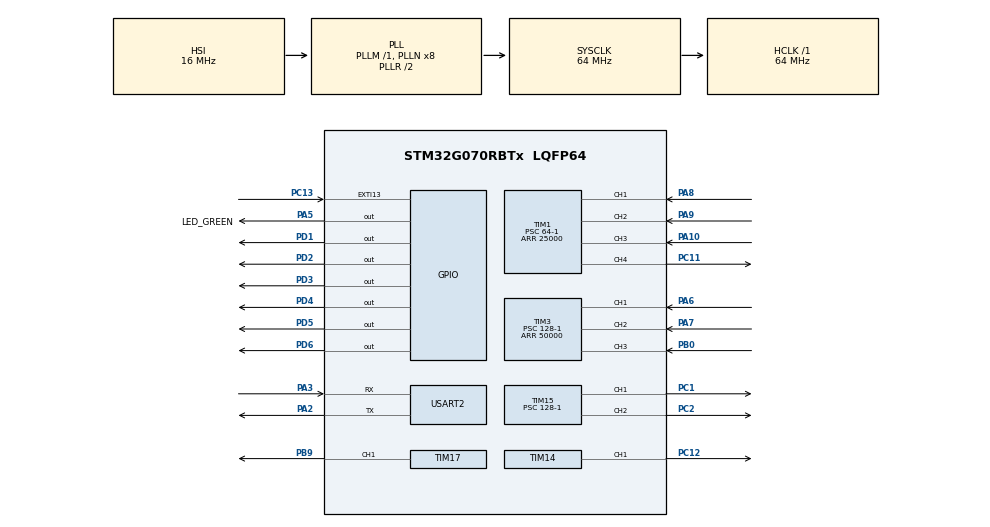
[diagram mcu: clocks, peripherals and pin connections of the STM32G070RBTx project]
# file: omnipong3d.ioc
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Dma.Request0=TIM17_CH1
Dma.TIM17_CH1.0.Direction=DMA_MEMORY_TO_PERIPH
Dma.TIM17_CH1.0.EventEnable=DISABLE
Dma.TIM17_CH1.0.Instance=DMA1_Channel1
Dma.TIM17_CH1.0.MemDataAlignment=DMA_MDATAALIGN_HALFWORD
Dma.TIM17_CH1.0.MemInc=DMA_MINC_ENABLE
Dma.TIM17_CH1.0.Mode=DMA_NORMAL
Dma.TIM17_CH1.0.PeriphDataAlignment=DMA_PDATAALIGN_HALFWORD
Dma.TIM17_CH1.0.PeriphInc=DMA_PINC_DISABLE
Dma.TIM17_CH1.0.Polarity=HAL_DMAMUX_REQ_GEN_RISING
Dma.TIM17_CH1.0.Priority=DMA_PRIORITY_LOW
Dma.TIM17_CH1.0.RequestNumber=1
Dma.TIM17_CH1.0.SignalID=NONE
Dma.TIM17_CH1.0.SyncEnable=DISABLE
Dma.TIM17_CH1.0.SyncPolarity=HAL_DMAMUX_SYNC_NO_EVENT
Dma.TIM17_CH1.0.SyncRequestNumber=1
Dma.TIM17_CH1.0.SyncSignalID=NONE
Mcu.Family=STM32G0
Mcu.Name=STM32G070RBTx
Mcu.Package=LQFP64
NVIC.DMA1_Channel1_IRQn=true\:0\:0\:false\:false\:true\:false\:true
NVIC.EXTI4_15_IRQn=true\:0\:0\:false\:false\:true\:true\:true
NVIC.TIM16_IRQn=true\:0\:0\:false\:false\:true\:true\:true
NVIC.TIM1_BRK_UP_TRG_COM_IRQn=true\:0\:0\:false\:false\:true\:true\:true
NVIC.TIM1_CC_IRQn=true\:0\:0\:false\:false\:true\:true\:true
NVIC.TIM3_IRQn=true\:0\:0\:false\:false\:true\:true\:true
NVIC.TIM6_IRQn=true\:0\:0\:false\:false\:true\:true\:true
PA10.Signal=S_TIM1_CH3
PA2.Mode=Asynchronous
PA2.Signal=USART2_TX
PA3.Mode=Asynchronous
PA3.Signal=USART2_RX
PA5.GPIO_Label=LED_GREEN
PA5.GPIO_Speed=GPIO_SPEED_FREQ_HIGH
PA5.Signal=GPIO_Output
PA6.GPIO_PuPd=GPIO_PULLDOWN
PA6.Signal=S_TIM3_CH1
PA7.GPIO_PuPd=GPIO_PULLDOWN
PA7.Signal=S_TIM3_CH2
PA8.Signal=S_TIM1_CH1
PA9.Signal=S_TIM1_CH2
PB0.GPIO_PuPd=GPIO_PULLDOWN
PB0.Signal=S_TIM3_CH3
PB9.Signal=S_TIM17_CH1
PC1.Signal=S_TIM15_CH1
PC11.Signal=S_TIM1_CH4
PC12.Signal=S_TIM14_CH1
PC13.Signal=GPXTI13
PC2.Signal=S_TIM15_CH2
PD1.Signal=GPIO_Output
PD2.Signal=GPIO_Output
PD3.Signal=GPIO_Output
PD4.Signal=GPIO_Output
PD5.Signal=GPIO_Output
PD6.Signal=GPIO_Output
PF0-OSC_IN\ (PF0).GPIO_Label=MCO
PF0-OSC_IN\ (PF0).Signal=RCC_OSC_IN
ProjectManager.HeapSize=0x200
ProjectManager.StackSize=0x400
ProjectManager.TargetToolchain=Makefile
RCC.ADCFreq_Value=64000000
RCC.AHBFreq_Value=64000000
RCC.CortexFreq_Value=64000000
RCC.EXTERNAL_CLOCK_VALUE=12288000
RCC.HCLKFreq_Value=64000000
RCC.HSE_VALUE=8000000
RCC.HSI_VALUE=16000000
RCC.LSE_VALUE=32768
RCC.SYSCLKFreq_VALUE=64000000
RCC.SYSCLKSource=RCC_SYSCLKSOURCE_PLLCLK
RCC.VCOOutputFreq_Value=128000000
SH.S_TIM14_CH1.0=TIM14_CH1,PWM Generation1 CH1
SH.S_TIM15_CH1.0=TIM15_CH1,PWM Generation1 CH1
SH.S_TIM15_CH2.0=TIM15_CH2,PWM Generation2 CH2
SH.S_TIM17_CH1.0=TIM17_CH1,PWM Generation1 CH1
SH.S_TIM1_CH1.0=TIM1_CH1,Input_Capture1_from_TI1
SH.S_TIM1_CH2.0=TIM1_CH2,Input_Capture2_from_TI2
SH.S_TIM1_CH3.0=TIM1_CH3,Input_Capture3_from_TI3
SH.S_TIM1_CH4.0=TIM1_CH4,PWM Generation4 CH4
SH.S_TIM3_CH1.0=TIM3_CH1,Input_Capture1_from_TI1
SH.S_TIM3_CH2.0=TIM3_CH2,Input_Capture2_from_TI2
SH.S_TIM3_CH3.0=TIM3_CH3,Input_Capture3_from_TI3
TIM1.Channel-Input_Capture1_from_TI1=TIM_CHANNEL_1
TIM1.Channel-Input_Capture2_from_TI2=TIM_CHANNEL_2
TIM1.Channel-Input_Capture3_from_TI3=TIM_CHANNEL_3
TIM1.Channel-PWM\ Generation4\ CH4=TIM_CHANNEL_4
TIM1.ICPolarity_CH1=TIM_INPUTCHANNELPOLARITY_BOTHEDGE
TIM1.ICPolarity_CH2=TIM_INPUTCHANNELPOLARITY_BOTHEDGE
TIM1.ICPolarity_CH3=TIM_INPUTCHANNELPOLARITY_BOTHEDGE
TIM1.Period=25000
TIM1.Prescaler=64-1
TIM1.Pulse-PWM\ Generation4\ CH4=10
TIM1.TIM_MasterOutputTrigger=TIM_TRGO_UPDATE
TIM1.TIM_MasterSlaveMode=TIM_MASTERSLAVEMODE_ENABLE
TIM14.Channel=TIM_CHANNEL_1
TIM14.Period=1000
TIM14.Prescaler=128-1
TIM15.Channel-PWM\ Generation1\ CH1=TIM_CHANNEL_1
TIM15.Channel-PWM\ Generation2\ CH2=TIM_CHANNEL_2
TIM15.Period=1000
TIM15.Prescaler=128-1
TIM16.Period=25
TIM16.Prescaler=64000-1
TIM17.Channel=TIM_CHANNEL_1
TIM17.Period=80
TIM3.Channel-Input_Capture1_from_TI1=TIM_CHANNEL_1
TIM3.Channel-Input_Capture2_from_TI2=TIM_CHANNEL_2
TIM3.Channel-Input_Capture3_from_TI3=TIM_CHANNEL_3
TIM3.Period=50000
TIM3.Prescaler=128-1
TIM6.Prescaler=64000-1
USART2.VirtualMode-Asynchronous=VM_ASYNC
VP_SYS_VS_DBSignals.Mode=DisableDeadBatterySignals
VP_TIM14_VS_ClockSourceINT.Mode=Enable_Timer
VP_TIM15_VS_ClockSourceINT.Mode=Internal
VP_TIM16_VS_ClockSourceINT.Mode=Enable_Timer
VP_TIM17_VS_ClockSourceINT.Mode=Enable_Timer
VP_TIM1_VS_ClockSourceINT.Mode=Internal
VP_TIM3_VS_ClockSourceINT.Mode=Internal
VP_TIM6_VS_ClockSourceINT.Mode=Enable_Timer
board=NUCLEO-G070RB

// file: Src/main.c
/* USER CODE BEGIN Header */
/**
  ******************************************************************************
  * @file           : main.c
  * @brief          : Main program body
  ******************************************************************************
  * @attention
  *
  * <h2><center>&copy; Copyright (c) 2022 STMicroelectronics.
  * All rights reserved.</center></h2>
  *
  * This software component is licensed by ST under BSD 3-Clause license,
  * the "License"; You may not use this file except in compliance with the
  * License. You may obtain a copy of the License at:
  *                        opensource.org/licenses/BSD-3-Clause
  *
  ******************************************************************************
  */
/* USER CODE END Header */
#include "main.h"

/* USER CODE BEGIN Includes */
#include "sensors.h"
#include "move.h"
#include "ws2812.h"
#include "stm32g0xx_it.h"
#include "shape.h"
/* USER CODE END Includes */

TIM_HandleTypeDef htim1;
TIM_HandleTypeDef htim3;
TIM_HandleTypeDef htim6;
TIM_HandleTypeDef htim14;
TIM_HandleTypeDef htim15;
TIM_HandleTypeDef htim16;
TIM_HandleTypeDef htim17;
DMA_HandleTypeDef hdma_tim17_ch1;

UART_HandleTypeDef huart2;

/* USER CODE BEGIN PV */
int modus = -1;
int mode_step = 0;

/* USER CODE END PV */

void SystemClock_Config(void);
static void MX_GPIO_Init(void);
static void MX_TIM1_Init(void);
static void MX_USART2_UART_Init(void);
static void MX_TIM3_Init(void);
static void MX_TIM16_Init(void);
static void MX_TIM14_Init(void);
static void MX_DMA_Init(void);
static void MX_TIM17_Init(void);
static void MX_TIM15_Init(void);
static void MX_TIM6_Init(void);

int main(void)
{

  /* MCU Configuration--------------------------------------------------------*/

  /* Reset of all peripherals, Initializes the Flash interface and the Systick. */
  HAL_Init();

  /* Configure the system clock */
  SystemClock_Config();

  /* Initialize all configured peripherals */
  MX_GPIO_Init();
  MX_TIM1_Init();
  MX_USART2_UART_Init();
  MX_TIM3_Init();
  MX_TIM16_Init();
  MX_TIM14_Init();
  MX_DMA_Init();
  MX_TIM17_Init();
  MX_TIM15_Init();
  MX_TIM6_Init();
  /* USER CODE BEGIN 2 */
  HAL_TIM_Base_Start_IT(&htim1);
  HAL_TIM_Base_Start_IT(&htim3);
  HAL_TIM_Base_Start(&htim14);
  HAL_TIM_Base_Start(&htim15);
  HAL_TIM_Base_Start_IT(&htim16);

  HAL_TIM_OC_Start(&htim14, TIM_CHANNEL_1);
  HAL_TIM_OC_Start(&htim15, TIM_CHANNEL_1);
  HAL_TIM_OC_Start(&htim15, TIM_CHANNEL_2);

  HAL_TIM_IC_Start_IT(&htim1, TIM_CHANNEL_1);
  HAL_TIM_IC_Start_IT(&htim1, TIM_CHANNEL_2);
  HAL_TIM_IC_Start_IT(&htim1, TIM_CHANNEL_3);
  HAL_TIM_OC_Start(&htim1, TIM_CHANNEL_4);

  HAL_TIM_IC_Start_IT(&htim3, TIM_CHANNEL_1);
  HAL_TIM_IC_Start_IT(&htim3, TIM_CHANNEL_2);
  HAL_TIM_IC_Start_IT(&htim3, TIM_CHANNEL_3);

  set_led(0, 0, 64, 0);
  ws2812_send();

  /* USER CODE END 2 */

  /* Infinite loop */
  /* USER CODE BEGIN WHILE */

  //set_led(0, 0, 0, 64);
  //ws2812_send();

  while (1)
  {
    /* USER CODE END WHILE */
      debug_distance();
      HAL_Delay(100);
  }
}

void SystemClock_Config(void)
{
  RCC_OscInitTypeDef RCC_OscInitStruct = {0};
  RCC_ClkInitTypeDef RCC_ClkInitStruct = {0};
  RCC_PeriphCLKInitTypeDef PeriphClkInit = {0};

  /** Configure the main internal regulator output voltage
  */
  HAL_PWREx_ControlVoltageScaling(PWR_REGULATOR_VOLTAGE_SCALE1);
  /** Initializes the RCC Oscillators according to the specified parameters
  * in the RCC_OscInitTypeDef structure.
  */
  RCC_OscInitStruct.OscillatorType = RCC_OSCILLATORTYPE_HSI;
  RCC_OscInitStruct.HSIState = RCC_HSI_ON;
  RCC_OscInitStruct.HSIDiv = RCC_HSI_DIV1;
  RCC_OscInitStruct.HSICalibrationValue = RCC_HSICALIBRATION_DEFAULT;
  RCC_OscInitStruct.PLL.PLLState = RCC_PLL_ON;
  RCC_OscInitStruct.PLL.PLLSource = RCC_PLLSOURCE_HSI;
  RCC_OscInitStruct.PLL.PLLM = RCC_PLLM_DIV1;
  RCC_OscInitStruct.PLL.PLLN = 8;
  RCC_OscInitStruct.PLL.PLLP = RCC_PLLP_DIV2;
  RCC_OscInitStruct.PLL.PLLR = RCC_PLLR_DIV2;
  if (HAL_RCC_OscConfig(&RCC_OscInitStruct) != HAL_OK)
  {
    Error_Handler();
  }
  /** Initializes the CPU, AHB and APB buses clocks
  */
  RCC_ClkInitStruct.ClockType = RCC_CLOCKTYPE_HCLK|RCC_CLOCKTYPE_SYSCLK
                              |RCC_CLOCKTYPE_PCLK1;
  RCC_ClkInitStruct.SYSCLKSource = RCC_SYSCLKSOURCE_PLLCLK;
  RCC_ClkInitStruct.AHBCLKDivider = RCC_SYSCLK_DIV1;
  RCC_ClkInitStruct.APB1CLKDivider = RCC_HCLK_DIV1;

  if (HAL_RCC_ClockConfig(&RCC_ClkInitStruct, FLASH_LATENCY_2) != HAL_OK)
  {
    Error_Handler();
  }
  /** Initializes the peripherals clocks
  */
  PeriphClkInit.PeriphClockSelection = RCC_PERIPHCLK_USART2;
  PeriphClkInit.Usart2ClockSelection = RCC_USART2CLKSOURCE_PCLK1;
  if (HAL_RCCEx_PeriphCLKConfig(&PeriphClkInit) != HAL_OK)
  {
    Error_Handler();
  }
}

static void MX_TIM1_Init(void)
{

  TIM_ClockConfigTypeDef sClockSourceConfig = {0};
  TIM_MasterConfigTypeDef sMasterConfig = {0};
  TIM_IC_InitTypeDef sConfigIC = {0};
  TIM_OC_InitTypeDef sConfigOC = {0};
  TIM_BreakDeadTimeConfigTypeDef sBreakDeadTimeConfig = {0};

  htim1.Instance = TIM1;
  htim1.Init.Prescaler = 64-1;
  htim1.Init.CounterMode = TIM_COUNTERMODE_UP;
  htim1.Init.Period = 50000;
  htim1.Init.ClockDivision = TIM_CLOCKDIVISION_DIV1;
  htim1.Init.RepetitionCounter = 0;
  htim1.Init.AutoReloadPreload = TIM_AUTORELOAD_PRELOAD_DISABLE;
  if (HAL_TIM_Base_Init(&htim1) != HAL_OK)
  {
    Error_Handler();
  }
  sClockSourceConfig.ClockSource = TIM_CLOCKSOURCE_INTERNAL;
  if (HAL_TIM_ConfigClockSource(&htim1, &sClockSourceConfig) != HAL_OK)
  {
    Error_Handler();
  }
  if (HAL_TIM_IC_Init(&htim1) != HAL_OK)
  {
    Error_Handler();
  }
  if (HAL_TIM_PWM_Init(&htim1) != HAL_OK)
  {
    Error_Handler();
  }
  sMasterConfig.MasterOutputTrigger = TIM_TRGO_UPDATE;
  sMasterConfig.MasterOutputTrigger2 = TIM_TRGO2_RESET;
  sMasterConfig.MasterSlaveMode = TIM_MASTERSLAVEMODE_ENABLE;
  if (HAL_TIMEx_MasterConfigSynchronization(&htim1, &sMasterConfig) != HAL_OK)
  {
    Error_Handler();
  }
  sConfigIC.ICPolarity = TIM_INPUTCHANNELPOLARITY_BOTHEDGE;
  sConfigIC.ICSelection = TIM_ICSELECTION_DIRECTTI;
  sConfigIC.ICPrescaler = TIM_ICPSC_DIV1;
  sConfigIC.ICFilter = 0;
  if (HAL_TIM_IC_ConfigChannel(&htim1, &sConfigIC, TIM_CHANNEL_1) != HAL_OK)
  {
    Error_Handler();
  }
  if (HAL_TIM_IC_ConfigChannel(&htim1, &sConfigIC, TIM_CHANNEL_2) != HAL_OK)
  {
    Error_Handler();
  }
  if (HAL_TIM_IC_ConfigChannel(&htim1, &sConfigIC, TIM_CHANNEL_3) != HAL_OK)
  {
    Error_Handler();
  }
  sConfigOC.OCMode = TIM_OCMODE_PWM1;
  sConfigOC.Pulse = 10;
  sConfigOC.OCPolarity = TIM_OCPOLARITY_HIGH;
  sConfigOC.OCFastMode = TIM_OCFAST_DISABLE;
  sConfigOC.OCIdleState = TIM_OCIDLESTATE_RESET;
  sConfigOC.OCNIdleState = TIM_OCNIDLESTATE_RESET;
  if (HAL_TIM_PWM_ConfigChannel(&htim1, &sConfigOC, TIM_CHANNEL_4) != HAL_OK)
  {
    Error_Handler();
  }
  sBreakDeadTimeConfig.OffStateRunMode = TIM_OSSR_DISABLE;
  sBreakDeadTimeConfig.OffStateIDLEMode = TIM_OSSI_DISABLE;
  sBreakDeadTimeConfig.LockLevel = TIM_LOCKLEVEL_OFF;
  sBreakDeadTimeConfig.DeadTime = 0;
  sBreakDeadTimeConfig.BreakState = TIM_BREAK_DISABLE;
  sBreakDeadTimeConfig.BreakPolarity = TIM_BREAKPOLARITY_HIGH;
  sBreakDeadTimeConfig.BreakFilter = 0;
  sBreakDeadTimeConfig.BreakAFMode = TIM_BREAK_AFMODE_INPUT;
  sBreakDeadTimeConfig.Break2State = TIM_BREAK2_DISABLE;
  sBreakDeadTimeConfig.Break2Polarity = TIM_BREAK2POLARITY_HIGH;
  sBreakDeadTimeConfig.Break2Filter = 0;
  sBreakDeadTimeConfig.Break2AFMode = TIM_BREAK_AFMODE_INPUT;
  sBreakDeadTimeConfig.AutomaticOutput = TIM_AUTOMATICOUTPUT_DISABLE;
  if (HAL_TIMEx_ConfigBreakDeadTime(&htim1, &sBreakDeadTimeConfig) != HAL_OK)
  {
    Error_Handler();
  }
  HAL_TIM_MspPostInit(&htim1);

}

static void MX_TIM3_Init(void)
{

  TIM_ClockConfigTypeDef sClockSourceConfig = {0};
  TIM_MasterConfigTypeDef sMasterConfig = {0};
  TIM_IC_InitTypeDef sConfigIC = {0};

  htim3.Instance = TIM3;
  htim3.Init.Prescaler = 128-1;
  htim3.Init.CounterMode = TIM_COUNTERMODE_UP;
  htim3.Init.Period = 50000;
  htim3.Init.ClockDivision = TIM_CLOCKDIVISION_DIV1;
  htim3.Init.AutoReloadPreload = TIM_AUTORELOAD_PRELOAD_DISABLE;
  if (HAL_TIM_Base_Init(&htim3) != HAL_OK)
  {
    Error_Handler();
  }
  sClockSourceConfig.ClockSource = TIM_CLOCKSOURCE_INTERNAL;
  if (HAL_TIM_ConfigClockSource(&htim3, &sClockSourceConfig) != HAL_OK)
  {
    Error_Handler();
  }
  if (HAL_TIM_IC_Init(&htim3) != HAL_OK)
  {
    Error_Handler();
  }
  sMasterConfig.MasterOutputTrigger = TIM_TRGO_RESET;
  sMasterConfig.MasterSlaveMode = TIM_MASTERSLAVEMODE_DISABLE;
  if (HAL_TIMEx_MasterConfigSynchronization(&htim3, &sMasterConfig) != HAL_OK)
  {
    Error_Handler();
  }
  sConfigIC.ICPolarity = TIM_INPUTCHANNELPOLARITY_RISING;
  sConfigIC.ICSelection = TIM_ICSELECTION_DIRECTTI;
  sConfigIC.ICPrescaler = TIM_ICPSC_DIV1;
  sConfigIC.ICFilter = 0;
  if (HAL_TIM_IC_ConfigChannel(&htim3, &sConfigIC, TIM_CHANNEL_1) != HAL_OK)
  {
    Error_Handler();
  }
  if (HAL_TIM_IC_ConfigChannel(&htim3, &sConfigIC, TIM_CHANNEL_2) != HAL_OK)
  {
    Error_Handler();
  }
  if (HAL_TIM_IC_ConfigChannel(&htim3, &sConfigIC, TIM_CHANNEL_3) != HAL_OK)
  {
    Error_Handler();
  }

}

static void MX_TIM6_Init(void)
{

  TIM_MasterConfigTypeDef sMasterConfig = {0};

  htim6.Instance = TIM6;
  htim6.Init.Prescaler = 64000-1;
  htim6.Init.CounterMode = TIM_COUNTERMODE_UP;
  htim6.Init.Period = 65535;
  htim6.Init.AutoReloadPreload = TIM_AUTORELOAD_PRELOAD_DISABLE;
  if (HAL_TIM_Base_Init(&htim6) != HAL_OK)
  {
    Error_Handler();
  }
  sMasterConfig.MasterOutputTrigger = TIM_TRGO_RESET;
  sMasterConfig.MasterSlaveMode = TIM_MASTERSLAVEMODE_DISABLE;
  if (HAL_TIMEx_MasterConfigSynchronization(&htim6, &sMasterConfig) != HAL_OK)
  {
    Error_Handler();
  }

}

static void MX_TIM14_Init(void)
{

  TIM_OC_InitTypeDef sConfigOC = {0};

  htim14.Instance = TIM14;
  htim14.Init.Prescaler = 128-1;
  htim14.Init.CounterMode = TIM_COUNTERMODE_UP;
  htim14.Init.Period = 1000;
  htim14.Init.ClockDivision = TIM_CLOCKDIVISION_DIV1;
  htim14.Init.AutoReloadPreload = TIM_AUTORELOAD_PRELOAD_DISABLE;
  if (HAL_TIM_Base_Init(&htim14) != HAL_OK)
  {
    Error_Handler();
  }
  if (HAL_TIM_PWM_Init(&htim14) != HAL_OK)
  {
    Error_Handler();
  }
  sConfigOC.OCMode = TIM_OCMODE_PWM1;
  sConfigOC.Pulse = 0;
  sConfigOC.OCPolarity = TIM_OCPOLARITY_HIGH;
  sConfigOC.OCFastMode = TIM_OCFAST_DISABLE;
  if (HAL_TIM_PWM_ConfigChannel(&htim14, &sConfigOC, TIM_CHANNEL_1) != HAL_OK)
  {
    Error_Handler();
  }
  HAL_TIM_MspPostInit(&htim14);

}

static void MX_TIM15_Init(void)
{

  TIM_ClockConfigTypeDef sClockSourceConfig = {0};
  TIM_MasterConfigTypeDef sMasterConfig = {0};
  TIM_OC_InitTypeDef sConfigOC = {0};
  TIM_BreakDeadTimeConfigTypeDef sBreakDeadTimeConfig = {0};

  htim15.Instance = TIM15;
  htim15.Init.Prescaler = 128-1;
  htim15.Init.CounterMode = TIM_COUNTERMODE_UP;
  htim15.Init.Period = 1000;
  htim15.Init.ClockDivision = TIM_CLOCKDIVISION_DIV1;
  htim15.Init.RepetitionCounter = 0;
  htim15.Init.AutoReloadPreload = TIM_AUTORELOAD_PRELOAD_DISABLE;
  if (HAL_TIM_Base_Init(&htim15) != HAL_OK)
  {
    Error_Handler();
  }
  sClockSourceConfig.ClockSource = TIM_CLOCKSOURCE_INTERNAL;
  if (HAL_TIM_ConfigClockSource(&htim15, &sClockSourceConfig) != HAL_OK)
  {
    Error_Handler();
  }
  if (HAL_TIM_PWM_Init(&htim15) != HAL_OK)
  {
    Error_Handler();
  }
  sMasterConfig.MasterOutputTrigger = TIM_TRGO_RESET;
  sMasterConfig.MasterSlaveMode = TIM_MASTERSLAVEMODE_DISABLE;
  if (HAL_TIMEx_MasterConfigSynchronization(&htim15, &sMasterConfig) != HAL_OK)
  {
    Error_Handler();
  }
  sConfigOC.OCMode = TIM_OCMODE_PWM1;
  sConfigOC.Pulse = 0;
  sConfigOC.OCPolarity = TIM_OCPOLARITY_HIGH;
  sConfigOC.OCNPolarity = TIM_OCNPOLARITY_HIGH;
  sConfigOC.OCFastMode = TIM_OCFAST_DISABLE;
  sConfigOC.OCIdleState = TIM_OCIDLESTATE_RESET;
  sConfigOC.OCNIdleState = TIM_OCNIDLESTATE_RESET;
  if (HAL_TIM_PWM_ConfigChannel(&htim15, &sConfigOC, TIM_CHANNEL_1) != HAL_OK)
  {
    Error_Handler();
  }
  if (HAL_TIM_PWM_ConfigChannel(&htim15, &sConfigOC, TIM_CHANNEL_2) != HAL_OK)
  {
    Error_Handler();
  }
  sBreakDeadTimeConfig.OffStateRunMode = TIM_OSSR_DISABLE;
  sBreakDeadTimeConfig.OffStateIDLEMode = TIM_OSSI_DISABLE;
  sBreakDeadTimeConfig.LockLevel = TIM_LOCKLEVEL_OFF;
  sBreakDeadTimeConfig.DeadTime = 0;
  sBreakDeadTimeConfig.BreakState = TIM_BREAK_DISABLE;
  sBreakDeadTimeConfig.BreakPolarity = TIM_BREAKPOLARITY_HIGH;
  sBreakDeadTimeConfig.BreakFilter = 0;
  sBreakDeadTimeConfig.AutomaticOutput = TIM_AUTOMATICOUTPUT_DISABLE;
  if (HAL_TIMEx_ConfigBreakDeadTime(&htim15, &sBreakDeadTimeConfig) != HAL_OK)
  {
    Error_Handler();
  }
  HAL_TIM_MspPostInit(&htim15);

}

static void MX_TIM16_Init(void)
{

  htim16.Instance = TIM16;
  htim16.Init.Prescaler = 64000-1;
  htim16.Init.CounterMode = TIM_COUNTERMODE_UP;
  htim16.Init.Period = 100;
  htim16.Init.ClockDivision = TIM_CLOCKDIVISION_DIV1;
  htim16.Init.RepetitionCounter = 0;
  htim16.Init.AutoReloadPreload = TIM_AUTORELOAD_PRELOAD_DISABLE;
  if (HAL_TIM_Base_Init(&htim16) != HAL_OK)
  {
    Error_Handler();
  }

}

static void MX_TIM17_Init(void)
{

  TIM_OC_InitTypeDef sConfigOC = {0};
  TIM_BreakDeadTimeConfigTypeDef sBreakDeadTimeConfig = {0};

  htim17.Instance = TIM17;
  htim17.Init.Prescaler = 0;
  htim17.Init.CounterMode = TIM_COUNTERMODE_UP;
  htim17.Init.Period = 80;
  htim17.Init.ClockDivision = TIM_CLOCKDIVISION_DIV1;
  htim17.Init.RepetitionCounter = 0;
  htim17.Init.AutoReloadPreload = TIM_AUTORELOAD_PRELOAD_DISABLE;
  if (HAL_TIM_Base_Init(&htim17) != HAL_OK)
  {
    Error_Handler();
  }
  if (HAL_TIM_PWM_Init(&htim17) != HAL_OK)
  {
    Error_Handler();
  }
  sConfigOC.OCMode = TIM_OCMODE_PWM1;
  sConfigOC.Pulse = 0;
  sConfigOC.OCPolarity = TIM_OCPOLARITY_HIGH;
  sConfigOC.OCNPolarity = TIM_OCNPOLARITY_HIGH;
  sConfigOC.OCFastMode = TIM_OCFAST_DISABLE;
  sConfigOC.OCIdleState = TIM_OCIDLESTATE_RESET;
  sConfigOC.OCNIdleState = TIM_OCNIDLESTATE_RESET;
  if (HAL_TIM_PWM_ConfigChannel(&htim17, &sConfigOC, TIM_CHANNEL_1) != HAL_OK)
  {
    Error_Handler();
  }
  sBreakDeadTimeConfig.OffStateRunMode = TIM_OSSR_DISABLE;
  sBreakDeadTimeConfig.OffStateIDLEMode = TIM_OSSI_DISABLE;
  sBreakDeadTimeConfig.LockLevel = TIM_LOCKLEVEL_OFF;
  sBreakDeadTimeConfig.DeadTime = 0;
  sBreakDeadTimeConfig.BreakState = TIM_BREAK_DISABLE;
  sBreakDeadTimeConfig.BreakPolarity = TIM_BREAKPOLARITY_HIGH;
  sBreakDeadTimeConfig.BreakFilter = 0;
  sBreakDeadTimeConfig.AutomaticOutput = TIM_AUTOMATICOUTPUT_DISABLE;
  if (HAL_TIMEx_ConfigBreakDeadTime(&htim17, &sBreakDeadTimeConfig) != HAL_OK)
  {
    Error_Handler();
  }
  HAL_TIM_MspPostInit(&htim17);

}

static void MX_USART2_UART_Init(void)
{

  huart2.Instance = USART2;
  huart2.Init.BaudRate = 115200;
  huart2.Init.WordLength = UART_WORDLENGTH_8B;
  huart2.Init.StopBits = UART_STOPBITS_1;
  huart2.Init.Parity = UART_PARITY_NONE;
  huart2.Init.Mode = UART_MODE_TX_RX;
  huart2.Init.HwFlowCtl = UART_HWCONTROL_NONE;
  huart2.Init.OverSampling = UART_OVERSAMPLING_16;
  huart2.Init.OneBitSampling = UART_ONE_BIT_SAMPLE_DISABLE;
  huart2.Init.ClockPrescaler = UART_PRESCALER_DIV1;
  huart2.AdvancedInit.AdvFeatureInit = UART_ADVFEATURE_NO_INIT;
  if (HAL_UART_Init(&huart2) != HAL_OK)
  {
    Error_Handler();
  }
  if (HAL_UARTEx_SetTxFifoThreshold(&huart2, UART_TXFIFO_THRESHOLD_1_8) != HAL_OK)
  {
    Error_Handler();
  }
  if (HAL_UARTEx_SetRxFifoThreshold(&huart2, UART_RXFIFO_THRESHOLD_1_8) != HAL_OK)
  {
    Error_Handler();
  }
  if (HAL_UARTEx_DisableFifoMode(&huart2) != HAL_OK)
  {
    Error_Handler();
  }

}

static void MX_DMA_Init(void)
{

  /* DMA controller clock enable */
  __HAL_RCC_DMA1_CLK_ENABLE();

  /* DMA interrupt init */
  /* DMA1_Channel1_IRQn interrupt configuration */
  HAL_NVIC_SetPriority(DMA1_Channel1_IRQn, 0, 0);
  HAL_NVIC_EnableIRQ(DMA1_Channel1_IRQn);

}

static void MX_GPIO_Init(void)
{
  GPIO_InitTypeDef GPIO_InitStruct = {0};

  /* GPIO Ports Clock Enable */
  __HAL_RCC_GPIOC_CLK_ENABLE();
  __HAL_RCC_GPIOF_CLK_ENABLE();
  __HAL_RCC_GPIOA_CLK_ENABLE();
  __HAL_RCC_GPIOB_CLK_ENABLE();
  __HAL_RCC_GPIOD_CLK_ENABLE();

  /*Configure GPIO pin Output Level */
  HAL_GPIO_WritePin(LED_GREEN_GPIO_Port, LED_GREEN_Pin, GPIO_PIN_RESET);

  /*Configure GPIO pin Output Level */
  HAL_GPIO_WritePin(GPIOD, GPIO_PIN_1|GPIO_PIN_2|GPIO_PIN_3|GPIO_PIN_4
                          |GPIO_PIN_5|GPIO_PIN_6, GPIO_PIN_RESET);

  /*Configure GPIO pin : PC13 */
  GPIO_InitStruct.Pin = GPIO_PIN_13;
  GPIO_InitStruct.Mode = GPIO_MODE_IT_RISING;
  GPIO_InitStruct.Pull = GPIO_NOPULL;
  HAL_GPIO_Init(GPIOC, &GPIO_InitStruct);

  /*Configure GPIO pin : LED_GREEN_Pin */
  GPIO_InitStruct.Pin = LED_GREEN_Pin;
  GPIO_InitStruct.Mode = GPIO_MODE_OUTPUT_PP;
  GPIO_InitStruct.Pull = GPIO_NOPULL;
  GPIO_InitStruct.Speed = GPIO_SPEED_FREQ_HIGH;
  HAL_GPIO_Init(LED_GREEN_GPIO_Port, &GPIO_InitStruct);

  /*Configure GPIO pins : PD1 PD2 PD3 PD4
                           PD5 PD6 */
  GPIO_InitStruct.Pin = GPIO_PIN_1|GPIO_PIN_2|GPIO_PIN_3|GPIO_PIN_4
                          |GPIO_PIN_5|GPIO_PIN_6;
  GPIO_InitStruct.Mode = GPIO_MODE_OUTPUT_PP;
  GPIO_InitStruct.Pull = GPIO_NOPULL;
  GPIO_InitStruct.Speed = GPIO_SPEED_FREQ_LOW;
  HAL_GPIO_Init(GPIOD, &GPIO_InitStruct);

  /* EXTI interrupt init*/
  HAL_NVIC_SetPriority(EXTI4_15_IRQn, 0, 0);
  HAL_NVIC_EnableIRQ(EXTI4_15_IRQn);

}

/* USER CODE BEGIN 4 */
void HAL_TIM_IC_CaptureCallback(TIM_HandleTypeDef* htim)
{
  if(htim == &htim1)
  {
    switch(htim->Channel)
    {
      case HAL_TIM_ACTIVE_CHANNEL_1: ultrasonic(0, TIM_CHANNEL_1); break;
      case HAL_TIM_ACTIVE_CHANNEL_2: ultrasonic(1, TIM_CHANNEL_2); break;
      case HAL_TIM_ACTIVE_CHANNEL_3: ultrasonic(2, TIM_CHANNEL_3); break;
      default: break;
    }
  } else if (htim == &htim3)
  {
    switch(htim->Channel)
    {
      case HAL_TIM_ACTIVE_CHANNEL_1: pulse_counter[0]++; break;
      case HAL_TIM_ACTIVE_CHANNEL_2: pulse_counter[1]++; break;
      case HAL_TIM_ACTIVE_CHANNEL_3: pulse_counter[2]++; break;
      default: break;
    }
  }
}

void HAL_TIM_PeriodElapsedCallback(TIM_HandleTypeDef *htim)
{
  if(htim == &htim1) //alle Sensoren ausgelesen
  {
    signal_received = 0;
    distance_check(trav_dir);
  }

  if(htim == &htim3) //Ende der 10-tel Sekunde
  {
    adjust_pwm();
  }

  if(htim == &htim16)
  {
    check_wait_status();

    if(modus == 1)
    {
      if(!shape_status)
      {
        square();
      }
    }

  }
}

void HAL_TIM_PWM_PulseFinishedCallback(TIM_HandleTypeDef *htim)
{
  HAL_TIM_PWM_Stop_DMA(&htim17, TIM_CHANNEL_1);
}

/* USER CODE END 4 */

void Error_Handler(void)
{
  __disable_irq();
  while (1)
  {
  }
}

/************************ (C) COPYRIGHT STMicroelectronics *****END OF FILE****/
